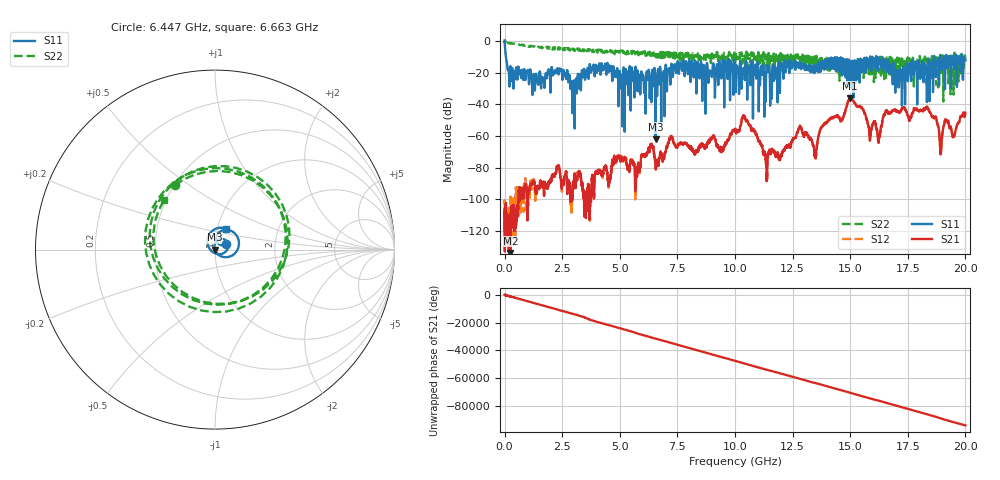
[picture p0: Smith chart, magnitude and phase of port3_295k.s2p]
! MS46122B
! 2250307/22442219
! 7/31/2025 8:30:07 AM
! C:\USERS\SPARKY\DOCUMENTS\VNA_DATA\JULY31_2025\295K\PORT3.S2P
! CHANNEL.1
! TR.MEASUREMENT
! RAW.DATA
# GHZ S RI R 50.0
! FREQ.GHZ  S11RE  S11IM  S21RE  S21IM  S12RE  S12IM  S22RE  S22IM
!; PortSelection: Port_12
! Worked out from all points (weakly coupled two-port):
!   10001 points, 1 MHz to 20 GHz, reference 50 ohm
!   highest |S21| = -36.25 dB at 14.97 GHz (marker M1); lowest = -134.0 dB at 249 MHz (marker M2)
!   lowest |S11| = -62.2 dB at 6.553 GHz (marker M3), VSWR 1.00, Z = 49.9 - j0.0025 ohm
!   |S11| at or under -10 dB: 57.06 MHz to 15.87 GHz (15.81 GHz wide, 199 % of centre); 16.15 GHz to 16.39 GHz (240.9 MHz wide, 1.48 % of centre); 16.39 GHz to 18.64 GHz (2.244 GHz wide, 12.8 % of centre) (the widest 3 of 13)
!   |S22| runs from -38.2 to 0.0 dB; largest |S21 - S12| = 0.0027
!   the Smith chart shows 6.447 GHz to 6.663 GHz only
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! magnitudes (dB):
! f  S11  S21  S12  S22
! 1 MHz  0.4  -109.1  -118.4  -0.1
! 249 MHz  -16.0  -134.0  -106.1  -1.5
! 2.381 GHz  -17.6  -80.8  -80.9  -5.3
! 2.959 GHz  -32.3  -92.0  -94.5  -5.1
! 3.335 GHz  -21.4  -91.2  -91.1  -5.4
! 6.553 GHz  -62.2  -77.9  -78.9  -8.7
! 6.669 GHz  -17.8  -78.5  -79.2  -7.4
! 7.219 GHz  -17.5  -59.9  -60.0  -9.0
! 9.413 GHz  -23.4  -69.7  -69.5  -10.1
! 10 GHz  -12.8  -56.3  -56.4  -14.5
! 10.44 GHz  -17.5  -48.5  -48.6  -15.3
! 11.34 GHz  -26.6  -74.9  -75.5  -10.4
! 12.81 GHz  -13.8  -53.9  -54.5  -11.0
! 13.33 GHz  -16.1  -62.8  -62.7  -12.4
! 14.97 GHz  -21.1  -36.3  -36.3  -19.9
! 16.22 GHz  -10.3  -62.3  -62.4  -10.7
! 16.67 GHz  -13.9  -45.6  -45.7  -10.4
! 18.34 GHz  -20.5  -41.5  -41.8  -12.2
! 18.94 GHz  -12.1  -70.8  -70.4  -17.9
! 19.16 GHz  -8.7  -50.0  -49.6  -16.4
! 19.5 GHz  -14.5  -60.0  -59.8  -12.5
! 20 GHz  -12.3  -45.2  -45.9  -14.1
